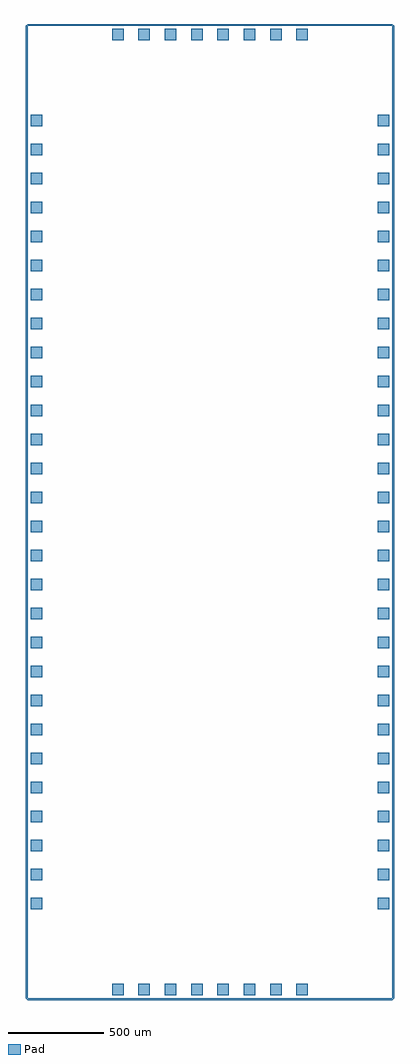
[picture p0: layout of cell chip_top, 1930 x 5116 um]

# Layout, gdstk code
import gdstk
lib = gdstk.Library(unit=1e-6, precision=1e-09)
def R(c, l, rs):  # rectangles x0, y0, x1, y1
    for r in rs: c.add(gdstk.rectangle(r[:2], r[2:], *l))
def A(c, l, x, y, w, h, nx, ny, dx, dy):  # array of equal rectangles
    R(c, l, [(x+i*dx, y+j*dy, x+i*dx+w, y+j*dy+h) for i in range(nx) for j in range(ny)])
def P(c, l, *ps):  # polygons
    for p in ps: c.add(gdstk.Polygon(p, *l))
Pad = (37, 0)

chip_top = lib.new_cell('chip_top')
A(chip_top, Pad, 455, 28, 60, 60, 8, 2, 138, 5006)
A(chip_top, Pad, 28, 479, 60, 60, 1, 28, 0, 152)
A(chip_top, Pad, 1848, 479, 60, 60, 1, 28, 0, 152)
P(chip_top, Pad, [(12,3),(3,12),(3,5110),(16,5110),(12,5106),(12,16),(16,12),(1920,12),(1924,16),(1924,5106),(1920,5110),(3,5110),(12,5119),(1924,5119),(1933,5110),(1933,12),(1924,3)])

lib.write_gds('chip_top.gds')
